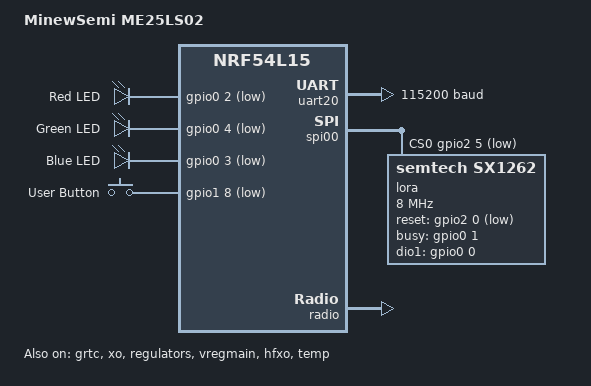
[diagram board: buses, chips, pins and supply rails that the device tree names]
/*
 * MinewSemi ME25LS02 (nRF54L15 + SX1262/LLCC68) on the MX25LE02 dev board
 * Copyright (c) 2026 ZephCore
 * SPDX-License-Identifier: MIT
 *
 * Module (fixed, inside the can — schematic rev K §6):
 *   SPI00: SCK P2.01, MOSI P2.02, MISO P2.04, NSS P2.05
 *   DIO1  P0.00      BUSY P0.01      NRESET P2.00
 *   DIO2 -> ANT_SW1 via R3: the SX1262 drives the antenna switch itself.
 *           There is no RXEN line (ANT_SW2 is strapped to VDD_RADIO by R4).
 *   Radio clock: 32 MHz crystal Y3 across XTA/XTB. NOT a TCXO — DIO3 is
 *           unconnected, so no dio3-tcxo-voltage here.
 *   SX1262 DC-DC is fitted (L7 on DCC_SW).
 *   nRF54L15 DC-DC is fitted (ML1 on DCC), so vregmain runs in DCDC mode.
 *   HFXO uses external load capacitors (MC12/MC13 at XC1/XC2).
 *
 * Dev board (MX25LE02 datasheet §5):
 *   USB-C is a CH340x UART bridge — the nRF54L15 has no USB peripheral.
 *   Console on uart20: TX P1.05, RX P1.04.
 *   RGB LED D1, common anode to 3V3 (active low): R P0.02, B P0.03, G P0.04.
 *   K2 user button -> P1.08 (to GND). K1 is nRESET, wired to the SoC pin.
 *   32.768 kHz crystal Y1 is on the carrier behind solder bridges SB1/SB3 —
 *   see the LFXO note at the bottom of this file before enabling it.
 */

/dts-v1/;
#include <nordic/nrf54l15_cpuapp.dtsi>
#include "me25ls02-pinctrl.dtsi"
#include <zephyr/dt-bindings/lora/sx126x.h>
#include <zephyr/dt-bindings/input/input-event-codes.h>

/ {
	model = "MinewSemi ME25LS02";
	compatible = "minewsemi,me25ls02";

	chosen {
		zephyr,sram = &cpuapp_sram;
		zephyr,flash = &cpuapp_rram;
		zephyr,flash-controller = &rram_controller;
		zephyr,console = &uart20;
		zephyr,shell-uart = &uart20;
		/*
		 * Deliberately no zephyr,code-partition: there is no bootloader
		 * on this part, so the image links at RRAM base 0x0 and the ROM
		 * starts it directly. CONFIG_USE_DT_CODE_PARTITION stays off.
		 */
	};

	aliases {
		lora0 = &lora;
		led0 = &green_led;
		led1 = &blue_led;
		led2 = &red_led;
		sw0 = &user_button;
	};

	leds {
		compatible = "gpio-leds";

		/* D1 is a common-anode RGB tied to 3V3 — all three are active low. */
		red_led: led_0 {
			gpios = <&gpio0 2 GPIO_ACTIVE_LOW>;
			label = "Red LED";
		};

		green_led: led_1 {
			gpios = <&gpio0 4 GPIO_ACTIVE_LOW>;
			label = "Green LED";
		};

		blue_led: led_2 {
			gpios = <&gpio0 3 GPIO_ACTIVE_LOW>;
			label = "Blue LED";
		};
	};

	buttons: buttons {
		compatible = "gpio-keys";

		/* K2 shorts P1.08 to GND; C13 does the hardware debounce. */
		user_button: button_0 {
			gpios = <&gpio1 8 (GPIO_PULL_UP | GPIO_ACTIVE_LOW)>;
			zephyr,code = <INPUT_KEY_0>;
			label = "User Button";
		};
	};
};

&cpuapp_sram {
	status = "okay";
};

&grtc {
	owned-channels = <0 1 2 3 4 5 6 7 8 9 10 11>;
	/* Channels 7-11 reserved for Zero Latency IRQs, 3-4 for FLPR */
	child-owned-channels = <3 4 7 8 9 10 11>;
	status = "okay";
};

&clock {
	status = "okay";
};

/* Zephyr main (4.5) split the nRF clock driver per clock; each one the
 * application uses must be enabled here or it is not built (the BT controller
 * fails to compile without lfclk). Same set as upstream's nrf54l15dk. */
&xo {
	status = "okay";
};

/* Calibrated RC, not a crystal: see the LFXO comment block below. 250 ppm is
 * the nRF54L15 calibrated-RC figure (DS v1.0 §11.2.2) and Zephyr's default for
 * RC outside nRF52. */
&lfclk {
	status = "okay";
	k32src = "rc";
	k32src-accuracy-ppm = <250>;
};

&uart20 {
	status = "okay";
	current-speed = <115200>;
	pinctrl-0 = <&uart20_default>;
	pinctrl-1 = <&uart20_sleep>;
	pinctrl-names = "default", "sleep";
};

&spi00 {
	status = "okay";
	cs-gpios = <&gpio2 5 GPIO_ACTIVE_LOW>;
	pinctrl-0 = <&spi00_default>;
	pinctrl-1 = <&spi00_sleep>;
	pinctrl-names = "default", "sleep";

	/*
	 * MinewSemi delete the SoC's spi00 RX sample delay in their own working
	 * sample, so we do the same rather than diverge from the one
	 * configuration known to run on this module.
	 *
	 * Worth knowing: xiao_nrf54l15 is the same SoC driving the same radio at
	 * the same 8 MHz and keeps rx-delay = 1, so this is not a rule about the
	 * SoC — it is untested either way and each board keeps what its vendor
	 * shipped. If someone ever A/B's it on hardware, unify the two.
	 */
	/delete-property/ rx-delay-supported;
	/delete-property/ rx-delay;

	lora: lora@0 {
		compatible = "semtech,sx1262";
		reg = <0>;
		spi-max-frequency = <8000000>;

		reset-gpios = <&gpio2 0 GPIO_ACTIVE_LOW>;
		busy-gpios = <&gpio0 1 GPIO_ACTIVE_HIGH>;
		dio1-gpios = <&gpio0 0 (GPIO_PULL_DOWN | GPIO_ACTIVE_HIGH)>;

		/* DIO2 drives ANT_SW1; there is no separate RXEN line. */
		dio2-tx-enable;

		/* Crystal, not TCXO — do not add dio3-tcxo-voltage. */

		/*
		 * The module fits the SX1262's DC-DC inductor (L7 on DCC_SW), and
		 * the driver defaults to DC-DC regulator mode, so `regulator-ldo`
		 * must NOT be added here — it would force the lossier LDO path.
		 */

		rx-boosted;
	};
};

&gpio0 {
	status = "okay";
};

&gpio1 {
	status = "okay";
};

&gpio2 {
	status = "okay";
};

&gpiote20 {
	status = "okay";
};

/* DIO1 and BUSY are on P0.x, which is served by GPIOTE30. */
&gpiote30 {
	status = "okay";
};

&regulators {
	status = "okay";
};

&vregmain {
	status = "okay";
	regulator-initial-mode = <NRF5X_REG_MODE_DCDC>;
};

/*
 * HFXO: the module fits its own external load capacitors at XC1/XC2, so the
 * internal ones must stay off or the 32 MHz oscillator is pulled off frequency.
 */
&hfxo {
	load-capacitors = "external";
	status = "okay";
};

/*
 * LFXO is deliberately NOT enabled.
 *
 * The ME25LS02 module does not contain a 32.768 kHz crystal — it brings XL1/XL2
 * out on P1.00/P1.01 and the datasheet shows the crystal only as a reference
 * design. The MX25LE02 carrier does fit one (Y1), but behind solder bridges
 * SB1/SB3, and a module soldered onto anyone else's board very likely has
 * nothing there at all. Configuring LFXO with no crystal present means LFCLK
 * never becomes ready and the node hangs at boot instead of failing visibly.
 *
 * So the board runs the calibrated LFRC instead (k32src = "rc" on &lfclk above),
 * which is what MinewSemi's own shipped firmware does. Cost is clock accuracy:
 * ±250 ppm calibrated versus ±50 ppm for a crystal (nRF54L15 DS v1.0 §11.2.2).
 * That is fine for BLE and for mesh timing, but it is the reason a node here
 * drifts faster than a crystal-equipped board — relevant if MeshTimeSync is
 * ever tuned against this hardware.
 *
 * To use the crystal on a carrier that definitely has one, set k32src = "xtal"
 * (and drop the accuracy override) on &lfclk above, remove
 * K32SRC_RC_CALIBRATION from board.conf, and enable &lfxo here with the right
 * load capacitance.
 */

&radio {
	status = "okay";
};

&temp {
	status = "okay";
};

/* Default Nordic RRAM map, then re-carved below for ZephCore. */
#include <vendor/nordic/nrf54l15_cpuapp_partition.dtsi>

/*
 * RRAM layout (1524 KB total, 0x17D000).
 *
 * No bootloader: the application starts at 0x0 and the linker is given the
 * whole RRAM, so slot0/slot1 are meaningless here and are deleted to keep
 * anyone from assuming a DFU layout that does not exist. The only partition
 * that matters is the filesystem at the top of RRAM.
 *
 *   0x000000 - 0x14E000  (1336 KB)  application (links from 0x0)
 *   0x14E000 - 0x165000  (92 KB)    LittleFS: identity, prefs, contacts,
 *                                   channels, BLE bonds
 *   0x165000 - 0x17D000  (96 KB)    unused tail
 */
/delete-node/ &slot0_partition;
/delete-node/ &slot1_partition;
/delete-node/ &storage_partition;

&cpuapp_rram {
	partitions {
		lfs_partition: partition@14e000 {
			compatible = "zephyr,mapped-partition";
			label = "lfs";
			reg = <0x14E000 0x17000>;
		};
	};
};

/* LittleFS auto-mount — standard /lfs mount point */
#include "../../common/filesystem.dtsi"
